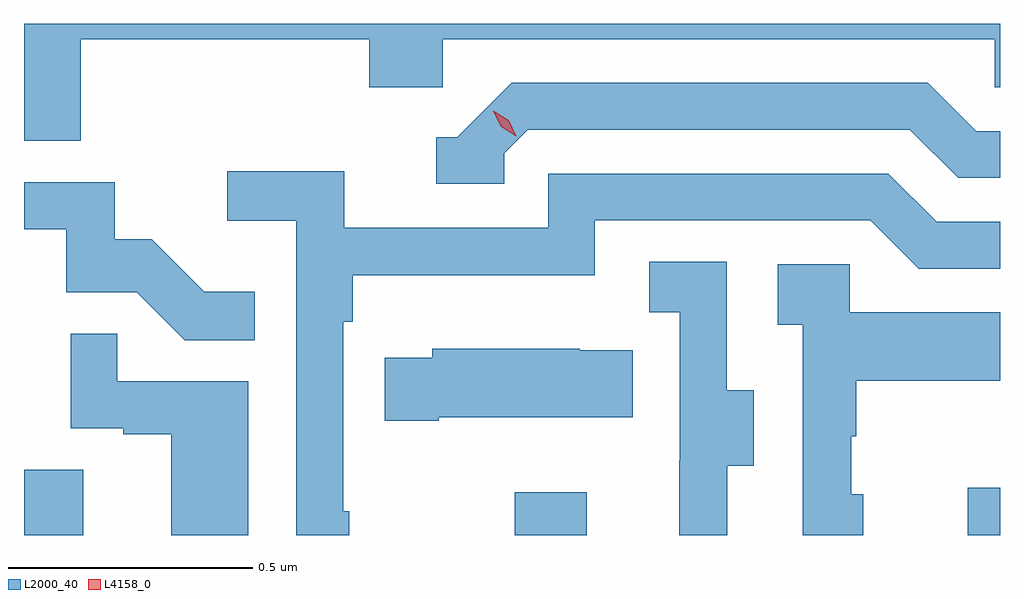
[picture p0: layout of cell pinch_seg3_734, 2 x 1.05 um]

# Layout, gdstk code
import gdstk
lib = gdstk.Library(unit=1e-6, precision=1e-09)
def R(c, l, rs):  # rectangles x0, y0, x1, y1
    for r in rs: c.add(gdstk.rectangle(r[:2], r[2:], *l))
def P(c, l, *ps):  # polygons
    for p in ps: c.add(gdstk.Polygon(p, *l))
L2000_40 = (2000, 40)
L4158_0 = (4158, 0)

pinch_seg3_734 = lib.new_cell('pinch_seg3_734')
R(pinch_seg3_734, L2000_40, [(856.572,747.852,856.693,747.986), (857.578,747.852,857.725,747.94), (858.506,747.852,858.572,747.949)])
P(pinch_seg3_734, L2000_40, [(856.688,748.868),(857.279,748.868),(857.279,748.77),(857.43,748.77),(857.43,748.868),(858.561,748.868),(858.561,748.77),(858.572,748.77),(858.572,748.9),(856.572,748.9),(856.572,748.66),(856.688,748.66)],
  [(857.556,748.635),(857.604,748.683),(858.387,748.683),(858.486,748.584),(858.572,748.584),(858.572,748.68),(858.523,748.68),(858.424,748.779),(857.571,748.779),(857.46,748.668),(857.417,748.668),(857.417,748.572),(857.556,748.572)],
  [(857.239,747.901),(857.226,747.901),(857.226,748.289),(857.246,748.289),(857.246,748.385),(857.742,748.385),(857.742,748.497),(858.306,748.497),(858.405,748.398),(858.572,748.398),(858.572,748.494),(858.442,748.494),(858.343,748.593),(857.646,748.593),(857.646,748.482),(857.228,748.482),(857.228,748.598),(856.989,748.598),(856.989,748.496),(857.13,748.496),(857.13,747.852),(857.239,747.852)],
  [(857.045,748.351),(856.941,748.351),(856.834,748.458),(856.758,748.458),(856.758,748.575),(856.572,748.575),(856.572,748.479),(856.659,748.479),(856.659,748.35),(856.803,748.35),(856.901,748.252),(857.045,748.252)],
  [(858.013,747.994),(858.067,747.994),(858.067,748.149),(858.012,748.149),(858.012,748.412),(857.853,748.412),(857.853,748.309),(857.916,748.309),(857.916,748.005),(857.915,748.005),(857.915,747.852),(858.013,747.852)],
  [(858.292,747.936),(858.267,747.936),(858.267,748.055),(858.277,748.055),(858.277,748.169),(858.572,748.169),(858.572,748.309),(858.264,748.309),(858.264,748.407),(858.117,748.407),(858.117,748.283),(858.168,748.283),(858.168,747.852),(858.292,747.852)],
  [(857.032,748.167),(856.763,748.167),(856.763,748.265),(856.668,748.265),(856.668,748.071),(856.775,748.071),(856.775,748.059),(856.874,748.059),(856.874,747.852),(857.032,747.852)],
  [(857.422,748.094),(857.819,748.094),(857.819,748.231),(857.711,748.231),(857.711,748.234),(857.409,748.234),(857.409,748.216),(857.311,748.216),(857.311,748.087),(857.422,748.087)])
P(pinch_seg3_734, L4158_0, [(857.581,748.67),(857.55,748.689),(857.534,748.721),(857.534,748.722),(857.534,748.722),(857.565,748.702),(857.581,748.67),(857.581,748.67)])

lib.write_gds('pinch_seg3_734.gds')
